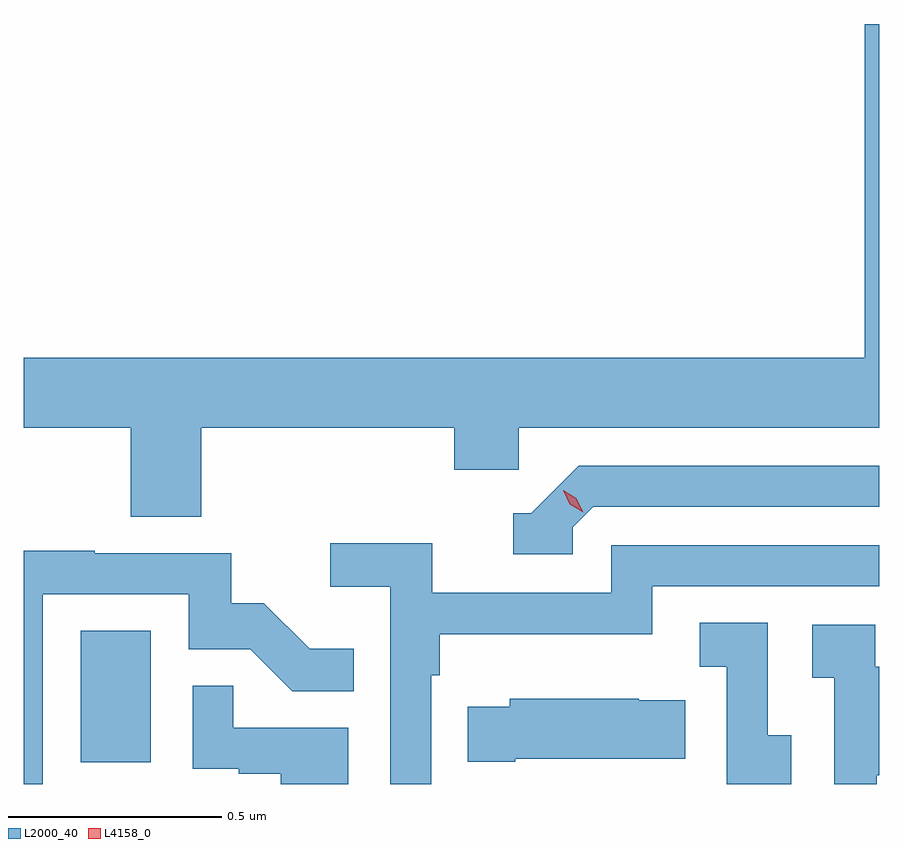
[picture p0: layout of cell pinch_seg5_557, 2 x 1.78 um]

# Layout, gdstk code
import gdstk
lib = gdstk.Library(unit=1e-6, precision=1e-09)
def R(c, l, rs):  # rectangles x0, y0, x1, y1
    for r in rs: c.add(gdstk.rectangle(r[:2], r[2:], *l))
def P(c, l, *ps):  # polygons
    for p in ps: c.add(gdstk.Polygon(p, *l))
L2000_40 = (2000, 40)
L4158_0 = (4158, 0)

pinch_seg5_557 = lib.new_cell('pinch_seg5_557')
R(pinch_seg5_557, L2000_40, [(974.066,846.654,974.23,846.961)])
P(pinch_seg5_557, L2000_40, [(974.348,847.436),(974.939,847.436),(974.939,847.338),(975.09,847.338),(975.09,847.436),(975.933,847.436),(975.933,848.38),(975.899,848.38),(975.899,847.6),(973.933,847.6),(973.933,847.436),(974.183,847.436),(974.183,847.228),(974.348,847.228)],
  [(975.216,847.203),(975.264,847.251),(975.933,847.251),(975.933,847.347),(975.231,847.347),(975.12,847.236),(975.077,847.236),(975.077,847.14),(975.216,847.14)],
  [(974.886,846.857),(974.906,846.857),(974.906,846.953),(975.402,846.953),(975.402,847.065),(975.933,847.065),(975.933,847.161),(975.306,847.161),(975.306,847.05),(974.888,847.05),(974.888,847.166),(974.649,847.166),(974.649,847.064),(974.79,847.064),(974.79,846.603),(974.886,846.603)],
  [(973.977,847.047),(974.319,847.047),(974.319,846.918),(974.463,846.918),(974.561,846.82),(974.705,846.82),(974.705,846.919),(974.601,846.919),(974.494,847.026),(974.418,847.026),(974.418,847.143),(974.099,847.143),(974.099,847.148),(973.933,847.148),(973.933,846.603),(973.977,846.603)],
  [(975.727,846.717),(975.672,846.717),(975.672,846.98),(975.513,846.98),(975.513,846.877),(975.576,846.877),(975.576,846.603),(975.727,846.603)],
  [(975.927,846.623),(975.933,846.623),(975.933,846.877),(975.924,846.877),(975.924,846.975),(975.777,846.975),(975.777,846.851),(975.828,846.851),(975.828,846.603),(975.927,846.603)],
  [(974.692,846.735),(974.423,846.735),(974.423,846.833),(974.328,846.833),(974.328,846.639),(974.435,846.639),(974.435,846.627),(974.534,846.627),(974.534,846.603),(974.692,846.603)],
  [(975.082,846.662),(975.479,846.662),(975.479,846.799),(975.371,846.799),(975.371,846.802),(975.069,846.802),(975.069,846.784),(974.971,846.784),(974.971,846.655),(975.082,846.655)])
P(pinch_seg5_557, L4158_0, [(975.241,847.238),(975.21,847.257),(975.194,847.29),(975.194,847.29),(975.194,847.29),(975.225,847.271),(975.241,847.238),(975.241,847.238)])

lib.write_gds('pinch_seg5_557.gds')
